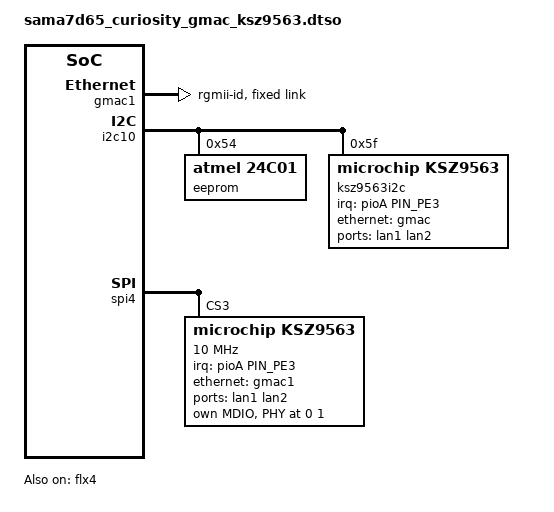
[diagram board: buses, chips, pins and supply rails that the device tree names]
// SPDX-License-Identifier: (GPL-2.0+ OR MIT)
/*
 * Device Tree file for SAMA7D65 CURIOSITY board overlay supporting the
 * KSZ9563 3-port Gigabit switch Daughter Card using I2C or SPI and RGMII.
 *
 * Copyright (c) 2025 Microchip Technology Inc. and its subsidiaries
 *
 * Author: Jerry Ray <jerry.ray@microchip.com>
 *
 * Refer to the EV35V13A (KSZ9563-EDS2 daughter card)
 *
 */
/dts-v1/;
/plugin/;
#include "sama7d65-pinfunc.h"
#include <dt-bindings/mfd/atmel-flexcom.h>
#include <dt-bindings/clock/at91.h>
#include <dt-bindings/pinctrl/at91.h>
#include <dt-bindings/gpio/gpio.h>
#include <dt-bindings/interrupt-controller/irq.h>

&{/}
{
	model = "Microchip SAMA7D65 Curiosity KSZ9563 Gigabit Switch";
};

&flx4 {
	atmel,flexcom-mode = <ATMEL_FLEXCOM_MODE_SPI>;
	status = "okay";
};

&gmac1 {
	phy-mode = "rgmii-id";
	magic-packet;
	status = "okay";

	fixed-link {
		speed = <1000>;
		full-duplex;
		pause;
	};

	ethernet-phy@1 {
		status = "disabled";
	};
};

&i2c10 {
	#address-cells = <1>;
	#size-cells = <0>;
	dmas = <0>, <0>;
	status = "okay";

	eeprom@54 {
		compatible = "atmel,24c01";
		reg = <0x54>;
		pagesize = <8>;
		status = "okay";
	};

	ksz9563i2c: ksz9563i2c-switch@5f {
		compatible = "microchip,ksz9563";
		reg = <95>;
		interrupt-parent = <&pioA>;
		interrupts = <PIN_PE3 IRQ_TYPE_LEVEL_LOW>;
		status = "okay";

		ports {
			#address-cells = <1>;
			#size-cells = <0>;
			port@0 {
				reg = <0>;
				label = "lan1";
			};
			port@1 {
				reg = <1>;
				label = "lan2";
			};
			port@2 {
				reg = <2>;
				phy-mode = "rgmii-id";
				rx-internal-delay-ps = <2000>;
				tx-internal-delay-ps = <2000>;
				ethernet = <&gmac>;
				fixed-link {
					speed = <1000>;
					full-duplex;
					pause;
				};
			};
		};
	};
};

&pioA {
	pinctrl_spi4_default: spi4-default{
		pinmux = <PIN_PA18__FLEXCOM4_IO0>,	/* MOSI */
			 <PIN_PA17__FLEXCOM4_IO1>,	/* MISO */
			 <PIN_PA16__FLEXCOM4_IO2>,	/* SPCK */
			 <PIN_PA15__FLEXCOM4_IO3>,	/* CS0 */
			 <PIN_PA14__FLEXCOM4_IO4>,	/* CS1 */
			 <PIN_PA19__FLEXCOM4_IO5>,	/* CS2 */
			 <PIN_PA20__FLEXCOM4_IO6>;	/* CS3 */
		bias-disable;
	};
};

&spi4 {
	#address-cells = <1>;
	#size-cells = <0>;
	pinctrl-names = "default";
	pinctrl-0 = <&pinctrl_spi4_default>;
	status = "okay";

	ksz9563: ksz9563-switch@3 {
		compatible = "microchip,ksz9563";
		reg = <3>;
		interrupt-parent = <&pioA>;
		interrupts = <PIN_PE3 IRQ_TYPE_LEVEL_LOW>;
		spi-max-frequency = <10000000>;		/* 10MHz until proven */
		spi-cpha;
		spi-cpol;
		status = "okay";

		ports {
			#address-cells = <1>;
			#size-cells = <0>;
			port@0 {
				reg = <0>;
				label = "lan1";
				phy-handle = <&swphy0>;
			};
			port@1 {
				reg = <1>;
				label = "lan2";
				phy-handle = <&swphy1>;
			};
			port@2 {
				reg = <2>;
				phy-mode = "rgmii-id";
				rx-internal-delay-ps = <2000>;
				tx-internal-delay-ps = <2000>;
				ethernet = <&gmac1>;
				fixed-link {
					speed = <1000>;
					full-duplex;
					pause;
				};
			};
		};
		mdio {
			#address-cells = <1>;
			#size-cells = <0>;
			swphy0: ethernet-phy@0 {
				reg = <0>;
			};
			swphy1: ethernet-phy@1 {
				reg = <1>;
			};
		};
	};
};
